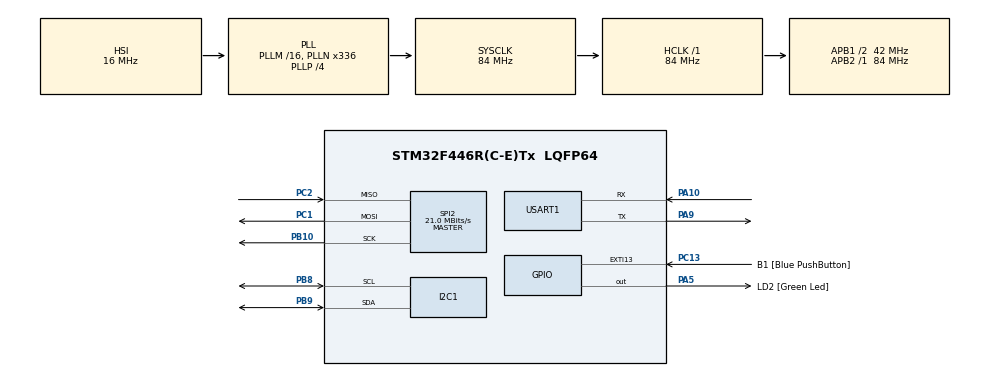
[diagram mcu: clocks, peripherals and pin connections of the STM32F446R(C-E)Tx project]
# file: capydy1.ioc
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Mcu.Family=STM32F4
Mcu.Name=STM32F446R(C-E)Tx
Mcu.Package=LQFP64
NVIC.I2C1_EV_IRQn=true\:0\:0\:false\:false\:true\:true\:true\:true
NVIC.PriorityGroup=NVIC_PRIORITYGROUP_0
PA10.Mode=Asynchronous
PA10.Signal=USART1_RX
PA13.GPIO_Label=TMS
PA13.Mode=Serial_Wire
PA13.Signal=SYS_JTMS-SWDIO
PA14.GPIO_Label=TCK
PA14.Mode=Serial_Wire
PA14.Signal=SYS_JTCK-SWCLK
PA2.GPIO_Label=USART_TX
PA2.Signal=USART2_TX
PA3.GPIO_Label=USART_RX
PA3.Signal=USART2_RX
PA5.GPIO_Label=LD2 [Green Led]
PA5.Signal=GPIO_Output
PA9.Mode=Asynchronous
PA9.Signal=USART1_TX
PB10.Mode=Full_Duplex_Master
PB10.Signal=SPI2_SCK
PB3.GPIO_Label=SWO
PB3.Signal=SYS_JTDO-SWO
PB8.Mode=I2C
PB8.Signal=I2C1_SCL
PB9.Mode=I2C
PB9.Signal=I2C1_SDA
PC1.Mode=Full_Duplex_Master
PC1.Signal=SPI2_MOSI
PC13.GPIO_Label=B1 [Blue PushButton]
PC13.GPIO_ModeDefaultEXTI=GPIO_MODE_IT_FALLING
PC13.Signal=GPXTI13
PC14-OSC32_IN.Mode=LSE-External-Oscillator
PC14-OSC32_IN.Signal=RCC_OSC32_IN
PC15-OSC32_OUT.Mode=LSE-External-Oscillator
PC15-OSC32_OUT.Signal=RCC_OSC32_OUT
PC2.Mode=Full_Duplex_Master
PC2.Signal=SPI2_MISO
PH0-OSC_IN.Mode=HSE-External-Oscillator
PH0-OSC_IN.Signal=RCC_OSC_IN
PH1-OSC_OUT.Mode=HSE-External-Oscillator
PH1-OSC_OUT.Signal=RCC_OSC_OUT
ProjectManager.HeapSize=0x200
ProjectManager.StackSize=0x400
ProjectManager.TargetToolchain=STM32CubeIDE
RCC.48MHZClocksFreq_Value=84000000
RCC.AHBFreq_Value=84000000
RCC.APB1CLKDivider=RCC_HCLK_DIV2
RCC.APB1Freq_Value=42000000
RCC.APB1TimFreq_Value=84000000
RCC.APB2Freq_Value=84000000
RCC.APB2TimFreq_Value=84000000
RCC.CortexFreq_Value=84000000
RCC.FLatency-AdvancedSettings=FLASH_LATENCY_2
RCC.HCLKFreq_Value=84000000
RCC.HSE_VALUE=8000000
RCC.HSI_VALUE=16000000
RCC.PLLN=336
RCC.PLLP=RCC_PLLP_DIV4
RCC.SYSCLKFreq_VALUE=84000000
RCC.SYSCLKSource=RCC_SYSCLKSOURCE_PLLCLK
RCC.USBFreq_Value=168000000
RCC.VCOOutputFreq_Value=336000000
SPI2.CalculateBaudRate=21.0 MBits/s
SPI2.Direction=SPI_DIRECTION_2LINES
SPI2.Mode=SPI_MODE_MASTER
SPI2.VirtualType=VM_MASTER
USART1.VirtualMode=VM_ASYNC
board=NUCLEO-F446RE

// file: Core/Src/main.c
/* USER CODE BEGIN Header */
/**
  ******************************************************************************
  * @file           : main.c
  * @brief          : Main program body
  ******************************************************************************
  * @attention
  *
  * Copyright (c) 2026 STMicroelectronics.
  * All rights reserved.
  *
  * This software is licensed under terms that can be found in the LICENSE file
  * in the root directory of this software component.
  * If no LICENSE file comes with this software, it is provided AS-IS.
  *
  ******************************************************************************
  */
/* USER CODE END Header */
#include "main.h"

/* USER CODE BEGIN Includes */

#include <string.h>

/* USER CODE END Includes */

/* USER CODE BEGIN PD */

#define I2C_DEV_ADDR  (0x50 << 1)  /* 7-bit address 0x50, shifted for HAL */

/* USER CODE END PD */

I2C_HandleTypeDef hi2c1;

SPI_HandleTypeDef hspi2;

UART_HandleTypeDef huart1;

void SystemClock_Config(void);
static void MX_GPIO_Init(void);
static void MX_I2C1_Init(void);
static void MX_SPI2_Init(void);
static void MX_USART1_UART_Init(void);

int main(void)
{

  /* MCU Configuration--------------------------------------------------------*/

  /* Reset of all peripherals, Initializes the Flash interface and the Systick. */
  HAL_Init();

  /* Configure the system clock */
  SystemClock_Config();

  /* Initialize all configured peripherals */
  MX_GPIO_Init();
  MX_I2C1_Init();
  MX_SPI2_Init();
  MX_USART1_UART_Init();
  /* USER CODE BEGIN 2 */

  const char *boot_msg = "UART1 capyReady\r\n";
  HAL_UART_Transmit(&huart1, (uint8_t *)boot_msg, strlen(boot_msg), HAL_MAX_DELAY);

  uint8_t spi_boot[] = "SPI2 capyReady\r\n";
  HAL_SPI_Transmit(&hspi2, spi_boot, sizeof(spi_boot) - 1, HAL_MAX_DELAY);

  uint8_t i2c_boot[] = "I2C1 capyReady\r\n";
  HAL_I2C_Master_Transmit(&hi2c1, I2C_DEV_ADDR, i2c_boot, sizeof(i2c_boot) - 1, 20);

  /* USER CODE END 2 */

  /* Infinite loop */
  while (1)
  {

    /* USER CODE BEGIN 3 */
    const char *loop_msg = "Hello from STM32 UART1\r\n";
    HAL_UART_Transmit(&huart1, (uint8_t *)loop_msg, strlen(loop_msg), HAL_MAX_DELAY);

    uint8_t spi_data[] = "Hello from STM32 SPI2\r\n";
    HAL_SPI_Transmit(&hspi2, spi_data, sizeof(spi_data) - 1, HAL_MAX_DELAY);

    uint8_t i2c_data[] = "Hello from STM32 I2C1\r\n";
    HAL_I2C_Master_Transmit(&hi2c1, I2C_DEV_ADDR, i2c_data, sizeof(i2c_data) - 1, 20);

    HAL_Delay(100);
  }
  /* USER CODE END 3 */
}

void SystemClock_Config(void)
{
  RCC_OscInitTypeDef RCC_OscInitStruct = {0};
  RCC_ClkInitTypeDef RCC_ClkInitStruct = {0};

  /** Configure the main internal regulator output voltage
  */
  __HAL_RCC_PWR_CLK_ENABLE();
  __HAL_PWR_VOLTAGESCALING_CONFIG(PWR_REGULATOR_VOLTAGE_SCALE3);

  /** Initializes the RCC Oscillators according to the specified parameters
  * in the RCC_OscInitTypeDef structure.
  */
  RCC_OscInitStruct.OscillatorType = RCC_OSCILLATORTYPE_HSI;
  RCC_OscInitStruct.HSIState = RCC_HSI_ON;
  RCC_OscInitStruct.HSICalibrationValue = RCC_HSICALIBRATION_DEFAULT;
  RCC_OscInitStruct.PLL.PLLState = RCC_PLL_ON;
  RCC_OscInitStruct.PLL.PLLSource = RCC_PLLSOURCE_HSI;
  RCC_OscInitStruct.PLL.PLLM = 16;
  RCC_OscInitStruct.PLL.PLLN = 336;
  RCC_OscInitStruct.PLL.PLLP = RCC_PLLP_DIV4;
  RCC_OscInitStruct.PLL.PLLQ = 2;
  RCC_OscInitStruct.PLL.PLLR = 2;
  if (HAL_RCC_OscConfig(&RCC_OscInitStruct) != HAL_OK)
  {
    Error_Handler();
  }

  /** Initializes the CPU, AHB and APB buses clocks
  */
  RCC_ClkInitStruct.ClockType = RCC_CLOCKTYPE_HCLK|RCC_CLOCKTYPE_SYSCLK
                              |RCC_CLOCKTYPE_PCLK1|RCC_CLOCKTYPE_PCLK2;
  RCC_ClkInitStruct.SYSCLKSource = RCC_SYSCLKSOURCE_PLLCLK;
  RCC_ClkInitStruct.AHBCLKDivider = RCC_SYSCLK_DIV1;
  RCC_ClkInitStruct.APB1CLKDivider = RCC_HCLK_DIV2;
  RCC_ClkInitStruct.APB2CLKDivider = RCC_HCLK_DIV1;

  if (HAL_RCC_ClockConfig(&RCC_ClkInitStruct, FLASH_LATENCY_2) != HAL_OK)
  {
    Error_Handler();
  }
}

static void MX_I2C1_Init(void)
{

  hi2c1.Instance = I2C1;
  hi2c1.Init.ClockSpeed = 100000;
  hi2c1.Init.DutyCycle = I2C_DUTYCYCLE_2;
  hi2c1.Init.OwnAddress1 = 0;
  hi2c1.Init.AddressingMode = I2C_ADDRESSINGMODE_7BIT;
  hi2c1.Init.DualAddressMode = I2C_DUALADDRESS_DISABLE;
  hi2c1.Init.OwnAddress2 = 0;
  hi2c1.Init.GeneralCallMode = I2C_GENERALCALL_DISABLE;
  hi2c1.Init.NoStretchMode = I2C_NOSTRETCH_DISABLE;
  if (HAL_I2C_Init(&hi2c1) != HAL_OK)
  {
    Error_Handler();
  }

}

static void MX_SPI2_Init(void)
{

  /* SPI2 parameter configuration*/
  hspi2.Instance = SPI2;
  hspi2.Init.Mode = SPI_MODE_MASTER;
  hspi2.Init.Direction = SPI_DIRECTION_2LINES;
  hspi2.Init.DataSize = SPI_DATASIZE_8BIT;
  hspi2.Init.CLKPolarity = SPI_POLARITY_LOW;
  hspi2.Init.CLKPhase = SPI_PHASE_1EDGE;
  hspi2.Init.NSS = SPI_NSS_SOFT;
  hspi2.Init.BaudRatePrescaler = SPI_BAUDRATEPRESCALER_2;
  hspi2.Init.FirstBit = SPI_FIRSTBIT_MSB;
  hspi2.Init.TIMode = SPI_TIMODE_DISABLE;
  hspi2.Init.CRCCalculation = SPI_CRCCALCULATION_DISABLE;
  hspi2.Init.CRCPolynomial = 10;
  if (HAL_SPI_Init(&hspi2) != HAL_OK)
  {
    Error_Handler();
  }

}

static void MX_USART1_UART_Init(void)
{

  huart1.Instance = USART1;
  huart1.Init.BaudRate = 115200;
  huart1.Init.WordLength = UART_WORDLENGTH_8B;
  huart1.Init.StopBits = UART_STOPBITS_1;
  huart1.Init.Parity = UART_PARITY_NONE;
  huart1.Init.Mode = UART_MODE_TX_RX;
  huart1.Init.HwFlowCtl = UART_HWCONTROL_NONE;
  huart1.Init.OverSampling = UART_OVERSAMPLING_16;
  if (HAL_UART_Init(&huart1) != HAL_OK)
  {
    Error_Handler();
  }

}

static void MX_GPIO_Init(void)
{
  GPIO_InitTypeDef GPIO_InitStruct = {0};

  /* GPIO Ports Clock Enable */
  __HAL_RCC_GPIOC_CLK_ENABLE();
  __HAL_RCC_GPIOH_CLK_ENABLE();
  __HAL_RCC_GPIOA_CLK_ENABLE();
  __HAL_RCC_GPIOB_CLK_ENABLE();

  /*Configure GPIO pin Output Level */
  HAL_GPIO_WritePin(LD2_GPIO_Port, LD2_Pin, GPIO_PIN_RESET);

  /*Configure GPIO pin : B1_Pin */
  GPIO_InitStruct.Pin = B1_Pin;
  GPIO_InitStruct.Mode = GPIO_MODE_IT_FALLING;
  GPIO_InitStruct.Pull = GPIO_NOPULL;
  HAL_GPIO_Init(B1_GPIO_Port, &GPIO_InitStruct);

  /*Configure GPIO pins : USART_TX_Pin USART_RX_Pin */
  GPIO_InitStruct.Pin = USART_TX_Pin|USART_RX_Pin;
  GPIO_InitStruct.Mode = GPIO_MODE_AF_PP;
  GPIO_InitStruct.Pull = GPIO_NOPULL;
  GPIO_InitStruct.Speed = GPIO_SPEED_FREQ_VERY_HIGH;
  GPIO_InitStruct.Alternate = GPIO_AF7_USART2;
  HAL_GPIO_Init(GPIOA, &GPIO_InitStruct);

  /*Configure GPIO pin : LD2_Pin */
  GPIO_InitStruct.Pin = LD2_Pin;
  GPIO_InitStruct.Mode = GPIO_MODE_OUTPUT_PP;
  GPIO_InitStruct.Pull = GPIO_NOPULL;
  GPIO_InitStruct.Speed = GPIO_SPEED_FREQ_LOW;
  HAL_GPIO_Init(LD2_GPIO_Port, &GPIO_InitStruct);

}

void Error_Handler(void)
{
  __disable_irq();
  while (1)
  {
  }
}
